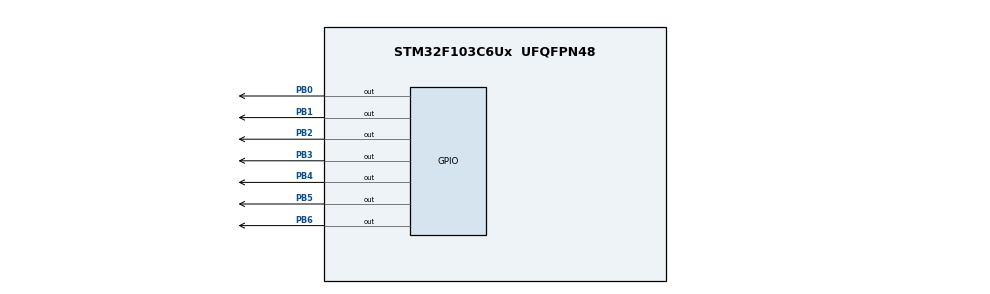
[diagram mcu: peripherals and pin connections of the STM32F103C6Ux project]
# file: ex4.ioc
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Mcu.Family=STM32F1
Mcu.Name=STM32F103C6Ux
Mcu.Package=UFQFPN48
NVIC.PriorityGroup=NVIC_PRIORITYGROUP_4
PB0.Signal=GPIO_Output
PB1.Signal=GPIO_Output
PB2.Signal=GPIO_Output
PB3.Signal=GPIO_Output
PB4.Signal=GPIO_Output
PB5.Signal=GPIO_Output
PB6.Signal=GPIO_Output
ProjectManager.HeapSize=0x200
ProjectManager.StackSize=0x400
ProjectManager.TargetToolchain=STM32CubeIDE
RCC.APB1Freq_Value=8000000
RCC.APB2Freq_Value=8000000
VP_SYS_VS_ND.Mode=No_Debug
board=custom

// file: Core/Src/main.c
/* USER CODE BEGIN Header */
/**
  ******************************************************************************
  * @file           : main.c
  * @brief          : Main program body
  ******************************************************************************
  * @attention
  *
  * <h2><center>&copy; Copyright (c) 2022 STMicroelectronics.
  * All rights reserved.</center></h2>
  *
  * This software component is licensed by ST under BSD 3-Clause license,
  * the "License"; You may not use this file except in compliance with the
  * License. You may obtain a copy of the License at:
  *                        opensource.org/licenses/BSD-3-Clause
  *
  ******************************************************************************
  */
/* USER CODE END Header */
#include "main.h"

void SystemClock_Config(void);
static void MX_GPIO_Init(void);
/* USER CODE BEGIN PFP */
void display7SEG(int);
/* USER CODE END PFP */

int main(void)
{

  /* MCU Configuration--------------------------------------------------------*/

  /* Reset of all peripherals, Initializes the Flash interface and the Systick. */
  HAL_Init();

  /* Configure the system clock */
  SystemClock_Config();

  /* Initialize all configured peripherals */
  MX_GPIO_Init();

  /* Infinite loop */
  /* USER CODE BEGIN WHILE */
  int counter = 0;
  while (1)
  {
	 if(counter >= 10) counter = 0;
	 display7SEG ( counter ++) ;
	 HAL_Delay (1000) ;
    /* USER CODE END WHILE */

  }
}

void SystemClock_Config(void)
{
  RCC_OscInitTypeDef RCC_OscInitStruct = {0};
  RCC_ClkInitTypeDef RCC_ClkInitStruct = {0};

  /** Initializes the RCC Oscillators according to the specified parameters
  * in the RCC_OscInitTypeDef structure.
  */
  RCC_OscInitStruct.OscillatorType = RCC_OSCILLATORTYPE_HSI;
  RCC_OscInitStruct.HSIState = RCC_HSI_ON;
  RCC_OscInitStruct.HSICalibrationValue = RCC_HSICALIBRATION_DEFAULT;
  RCC_OscInitStruct.PLL.PLLState = RCC_PLL_NONE;
  if (HAL_RCC_OscConfig(&RCC_OscInitStruct) != HAL_OK)
  {
    Error_Handler();
  }
  /** Initializes the CPU, AHB and APB buses clocks
  */
  RCC_ClkInitStruct.ClockType = RCC_CLOCKTYPE_HCLK|RCC_CLOCKTYPE_SYSCLK
                              |RCC_CLOCKTYPE_PCLK1|RCC_CLOCKTYPE_PCLK2;
  RCC_ClkInitStruct.SYSCLKSource = RCC_SYSCLKSOURCE_HSI;
  RCC_ClkInitStruct.AHBCLKDivider = RCC_SYSCLK_DIV1;
  RCC_ClkInitStruct.APB1CLKDivider = RCC_HCLK_DIV1;
  RCC_ClkInitStruct.APB2CLKDivider = RCC_HCLK_DIV1;

  if (HAL_RCC_ClockConfig(&RCC_ClkInitStruct, FLASH_LATENCY_0) != HAL_OK)
  {
    Error_Handler();
  }
}

static void MX_GPIO_Init(void)
{
  GPIO_InitTypeDef GPIO_InitStruct = {0};

  /* GPIO Ports Clock Enable */
  __HAL_RCC_GPIOB_CLK_ENABLE();

  /*Configure GPIO pin Output Level */
  HAL_GPIO_WritePin(GPIOB, GPIO_PIN_0|GPIO_PIN_1|GPIO_PIN_2|GPIO_PIN_3
                          |GPIO_PIN_4|GPIO_PIN_5|GPIO_PIN_6, GPIO_PIN_RESET);

  /*Configure GPIO pins : PB0 PB1 PB2 PB3
                           PB4 PB5 PB6 */
  GPIO_InitStruct.Pin = GPIO_PIN_0|GPIO_PIN_1|GPIO_PIN_2|GPIO_PIN_3
                          |GPIO_PIN_4|GPIO_PIN_5|GPIO_PIN_6;
  GPIO_InitStruct.Mode = GPIO_MODE_OUTPUT_PP;
  GPIO_InitStruct.Pull = GPIO_NOPULL;
  GPIO_InitStruct.Speed = GPIO_SPEED_FREQ_LOW;
  HAL_GPIO_Init(GPIOB, &GPIO_InitStruct);

}

/* USER CODE BEGIN 4 */
void display7SEG(int cnt){
	HAL_GPIO_WritePin(GPIOB, GPIO_PIN_0|GPIO_PIN_1|GPIO_PIN_2|GPIO_PIN_3|GPIO_PIN_4|GPIO_PIN_5|GPIO_PIN_6, 1);
	switch(cnt){
	case 0:
		HAL_GPIO_WritePin(GPIOB, GPIO_PIN_0|GPIO_PIN_1|GPIO_PIN_2|GPIO_PIN_3|GPIO_PIN_4|GPIO_PIN_5, 0);
		break;
	case 1:
		HAL_GPIO_WritePin(GPIOB, GPIO_PIN_1|GPIO_PIN_2, 0);
		break;
	case 2:
		HAL_GPIO_WritePin(GPIOB, GPIO_PIN_0|GPIO_PIN_1|GPIO_PIN_3|GPIO_PIN_4|GPIO_PIN_6, 0);
		break;
	case 3:
		HAL_GPIO_WritePin(GPIOB, GPIO_PIN_0|GPIO_PIN_1|GPIO_PIN_2|GPIO_PIN_3|GPIO_PIN_6, 0);
		break;
	case 4:
		HAL_GPIO_WritePin(GPIOB, GPIO_PIN_1|GPIO_PIN_2|GPIO_PIN_5|GPIO_PIN_6, 0);
		break;
	case 5:
		HAL_GPIO_WritePin(GPIOB, GPIO_PIN_0|GPIO_PIN_2|GPIO_PIN_3|GPIO_PIN_5|GPIO_PIN_6, 0);
		break;
	case 6:
		HAL_GPIO_WritePin(GPIOB, GPIO_PIN_0|GPIO_PIN_2|GPIO_PIN_3|GPIO_PIN_4|GPIO_PIN_5|GPIO_PIN_6, 0);
		break;
	case 7:
		HAL_GPIO_WritePin(GPIOB, GPIO_PIN_0|GPIO_PIN_1|GPIO_PIN_2, 0);
		break;
	case 8:
		HAL_GPIO_WritePin(GPIOB, GPIO_PIN_0|GPIO_PIN_1|GPIO_PIN_2|GPIO_PIN_3|GPIO_PIN_4|GPIO_PIN_5|GPIO_PIN_6, 0);
		break;
	case 9:
		HAL_GPIO_WritePin(GPIOB, GPIO_PIN_0|GPIO_PIN_1|GPIO_PIN_2|GPIO_PIN_3|GPIO_PIN_5|GPIO_PIN_6, 0);
	}
}
/* USER CODE END 4 */

void Error_Handler(void)
{
  __disable_irq();
  while (1)
  {
  }
}

/************************ (C) COPYRIGHT STMicroelectronics *****END OF FILE****/
